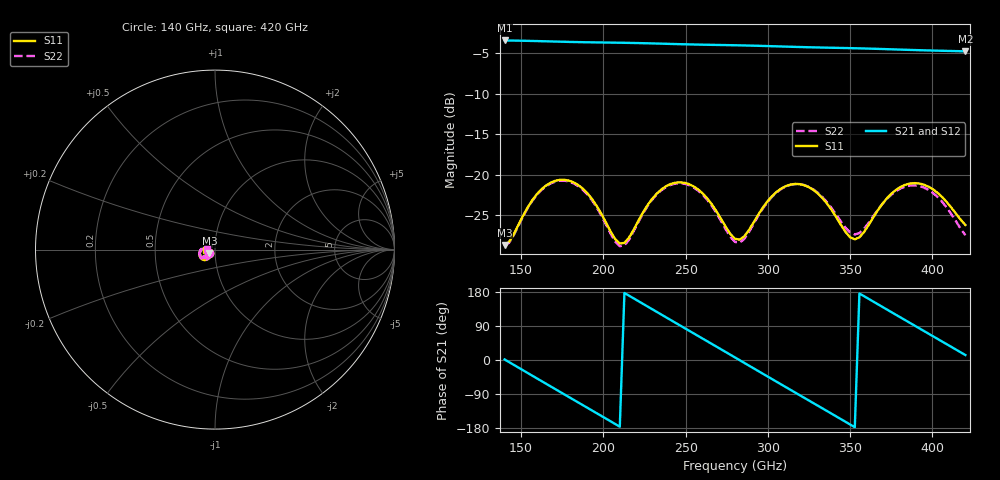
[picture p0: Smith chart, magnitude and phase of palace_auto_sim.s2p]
#  GHZ S DB R 50
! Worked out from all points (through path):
!   101 points, 140 GHz to 420 GHz, reference 50 ohm
!   highest |S21| = -3.44 dB at 140 GHz (marker M1); lowest = -4.8 dB at 420 GHz (marker M2)
!   group delay of S21, straight-line fit = 7.03 ps
!   lowest |S11| = -28.6 dB at 140 GHz (marker M3), VSWR 1.08, Z = 46.9 - j1.83 ohm
!   |S11| at or under -10 dB: start of sweep to end of sweep
!   |S22| runs from -28.8 to -20.7 dB; largest |S21 - S12| = 1.1e-13
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140  -28.65 -148.1  -3.44 1.4  -3.44 1.4  -28.79 -148.6
151.2  -25.06 -125.1  -3.48 -27.1  -3.48 -27.1  -25.15 -125.6
165.2  -21.32 -137.9  -3.55 -62.7  -3.55 -62.7  -21.42 -138.7
176.4  -20.62 -155.7  -3.61 -91.0  -3.61 -91.0  -20.73 -156.8
187.6  -21.73 -172.7  -3.66 -119.3  -3.66 -119.3  -21.87 -174.0
198.8  -24.82 178.5  -3.69 -147.6  -3.69 -147.6  -25.04 176.9
210  -28.48 -161.6  -3.72 -176.0  -3.72 -176.0  -28.81 -162.3
221.2  -25.71 -134.7  -3.76 155.6  -3.76 155.6  -25.86 -134.8
235.2  -21.82 -143.1  -3.84 120.0  -3.84 120.0  -21.93 -143.9
254.8  -21.42 -171.2  -3.94 70.5  -3.94 70.5  -21.56 -172.7
268.8  -24.53 176.7  -3.99 35.1  -3.99 35.1  -24.76 174.9
280  -27.89 -167.4  -4.03 6.7  -4.03 6.7  -28.28 -168.3
291.2  -25.91 -141.0  -4.09 -21.7  -4.09 -21.7  -26.11 -140.7
305.2  -22.13 -146.2  -4.17 -57.2  -4.17 -57.2  -22.19 -146.3
316.4  -21.13 -160.8  -4.23 -85.5  -4.23 -85.5  -21.15 -161.2
327.6  -21.86 -175.7  -4.29 -113.7  -4.29 -113.7  -21.81 -176.1
341.6  -25.26 176.2  -4.35 -149.0  -4.35 -149.0  -24.95 175.7
352.8  -27.96 -162.3  -4.40 -177.4  -4.40 -177.4  -27.36 -166.1
364  -25.27 -140.7  -4.46 154.2  -4.46 154.2  -25.12 -147.1
375.2  -22.30 -145.2  -4.53 125.9  -4.53 125.9  -22.42 -151.4
394.8  -21.23 -169.4  -4.66 76.5  -4.66 76.5  -21.58 -175.9
420  -26.19 -175.4  -4.78 13.0  -4.78 13.0  -27.46 179.1
